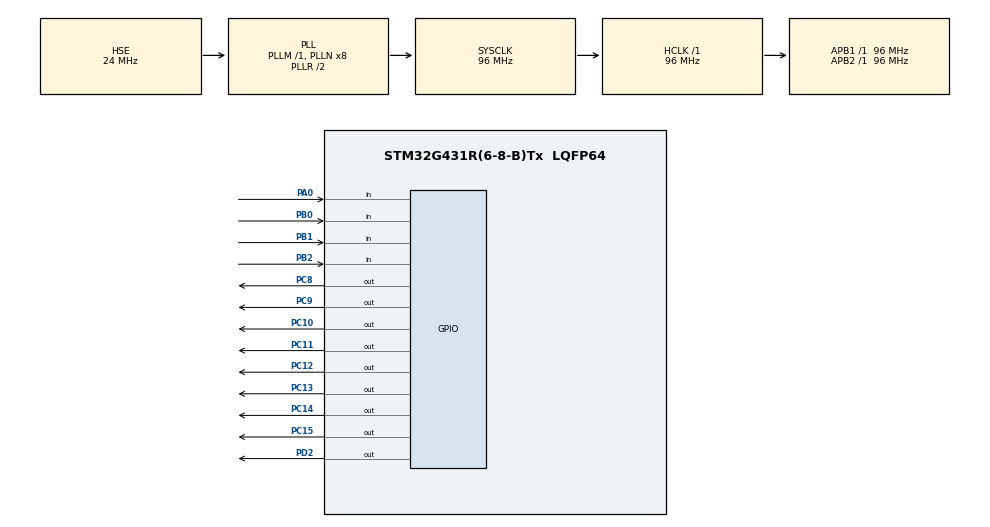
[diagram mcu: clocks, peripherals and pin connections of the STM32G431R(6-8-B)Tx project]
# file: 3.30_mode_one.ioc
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Mcu.Family=STM32G4
Mcu.Name=STM32G431R(6-8-B)Tx
Mcu.Package=LQFP64
NVIC.PriorityGroup=NVIC_PRIORITYGROUP_4
NVIC.TIM3_IRQn=true\:0\:0\:false\:false\:true\:true\:true\:true
PA0.GPIO_Mode=GPIO_MODE_INPUT
PA0.GPIO_PuPd=GPIO_PULLUP
PA0.Signal=GPIO_Input
PA13.Mode=Serial_Wire
PA13.Signal=SYS_JTMS-SWDIO
PA14.Mode=Serial_Wire
PA14.Signal=SYS_JTCK-SWCLK
PB0.GPIO_Mode=GPIO_MODE_INPUT
PB0.GPIO_PuPd=GPIO_PULLUP
PB0.Signal=GPIO_Input
PB1.GPIO_Mode=GPIO_MODE_INPUT
PB1.GPIO_PuPd=GPIO_PULLUP
PB1.Signal=GPIO_Input
PB2.GPIO_Mode=GPIO_MODE_INPUT
PB2.GPIO_PuPd=GPIO_PULLUP
PB2.Signal=GPIO_Input
PC10.GPIO_ModeDefaultOutputPP=GPIO_MODE_OUTPUT_PP
PC10.GPIO_PuPd=GPIO_NOPULL
PC10.PinState=GPIO_PIN_SET
PC10.Signal=GPIO_Output
PC11.GPIO_ModeDefaultOutputPP=GPIO_MODE_OUTPUT_PP
PC11.GPIO_PuPd=GPIO_NOPULL
PC11.PinState=GPIO_PIN_SET
PC11.Signal=GPIO_Output
PC12.GPIO_ModeDefaultOutputPP=GPIO_MODE_OUTPUT_PP
PC12.GPIO_PuPd=GPIO_NOPULL
PC12.PinState=GPIO_PIN_SET
PC12.Signal=GPIO_Output
PC13.GPIO_ModeDefaultOutputPP=GPIO_MODE_OUTPUT_PP
PC13.GPIO_PuPd=GPIO_NOPULL
PC13.PinState=GPIO_PIN_SET
PC13.Signal=GPIO_Output
PC14-OSC32_IN.GPIO_ModeDefaultOutputPP=GPIO_MODE_OUTPUT_PP
PC14-OSC32_IN.GPIO_PuPd=GPIO_NOPULL
PC14-OSC32_IN.PinState=GPIO_PIN_SET
PC14-OSC32_IN.Signal=GPIO_Output
PC15-OSC32_OUT.GPIO_ModeDefaultOutputPP=GPIO_MODE_OUTPUT_PP
PC15-OSC32_OUT.GPIO_PuPd=GPIO_NOPULL
PC15-OSC32_OUT.PinState=GPIO_PIN_SET
PC15-OSC32_OUT.Signal=GPIO_Output
PC8.GPIO_ModeDefaultOutputPP=GPIO_MODE_OUTPUT_PP
PC8.GPIO_PuPd=GPIO_NOPULL
PC8.PinState=GPIO_PIN_SET
PC8.Signal=GPIO_Output
PC9.GPIO_ModeDefaultOutputPP=GPIO_MODE_OUTPUT_PP
PC9.GPIO_PuPd=GPIO_NOPULL
PC9.PinState=GPIO_PIN_SET
PC9.Signal=GPIO_Output
PD2.GPIO_ModeDefaultOutputPP=GPIO_MODE_OUTPUT_PP
PD2.GPIO_PuPd=GPIO_NOPULL
PD2.PinState=GPIO_PIN_SET
PD2.Signal=GPIO_Output
PF0-OSC_IN.Mode=HSE-External-Oscillator
PF0-OSC_IN.Signal=RCC_OSC_IN
PF1-OSC_OUT.Mode=HSE-External-Oscillator
PF1-OSC_OUT.Signal=RCC_OSC_OUT
ProjectManager.HeapSize=0x200
ProjectManager.StackSize=0x400
ProjectManager.TargetToolchain=MDK-ARM V5.32
RCC.ADC12Freq_Value=96000000
RCC.AHBFreq_Value=96000000
RCC.APB1Freq_Value=96000000
RCC.APB1TimFreq_Value=96000000
RCC.APB2Freq_Value=96000000
RCC.APB2TimFreq_Value=96000000
RCC.CortexFreq_Value=96000000
RCC.EXTERNAL_CLOCK_VALUE=12288000
RCC.HCLKFreq_Value=96000000
RCC.HSE_VALUE=24000000
RCC.HSI48_VALUE=48000000
RCC.HSI_VALUE=16000000
RCC.LSE_VALUE=32768
RCC.PLLSourceVirtual=RCC_PLLSOURCE_HSE
RCC.SYSCLKFreq_VALUE=96000000
RCC.SYSCLKSource=RCC_SYSCLKSOURCE_PLLCLK
RCC.USBFreq_Value=96000000
RCC.VCOOutputFreq_Value=192000000
TIM3.PeriodNoDither=1000-1
TIM3.Prescaler=80-1
VP_SYS_VS_DBSignals.Mode=DisableDeadBatterySignals
VP_TIM3_VS_ClockSourceINT.Mode=Internal
board=custom

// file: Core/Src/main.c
/* USER CODE BEGIN Header */
/**
  ******************************************************************************
  * @file           : main.c
  * @brief          : Main program body
  ******************************************************************************
  * @attention
  *
  * Copyright (c) 2026 STMicroelectronics.
  * All rights reserved.
  *
  * This software is licensed under terms that can be found in the LICENSE file
  * in the root directory of this software component.
  * If no LICENSE file comes with this software, it is provided AS-IS.
  *
  ******************************************************************************
  */
/* USER CODE END Header */
#include "main.h"
#include "tim.h"
#include "gpio.h"

/* USER CODE BEGIN Includes */
#include "headfile.h"

/* USER CODE END Includes */

void SystemClock_Config(void);

int main(void)
{

  /* MCU Configuration--------------------------------------------------------*/

  /* Reset of all peripherals, Initializes the Flash interface and the Systick. */
  HAL_Init();

  /* Configure the system clock */
  SystemClock_Config();

  /* Initialize all configured peripherals */
  MX_GPIO_Init();
  MX_TIM3_Init();
  /* USER CODE BEGIN 2 */
  HAL_GPIO_WritePin(GPIOD,GPIO_PIN_2,GPIO_PIN_RESET);

LCD_Init();
LCD_Clear(Black);
LCD_SetBackColor(Black);
LCD_SetTextColor(White);

HAL_TIM_Base_Start_IT(&htim3);
  /* USER CODE END 2 */

  /* Infinite loop */
  /* USER CODE BEGIN WHILE */

  while (1)
  {
	  show_led(8,led8_state);
	  show_lcd();
	  if(key_short)
	  {
		switch(key_short)
		{
			case 1:
			{
				count++;
			}break;
		}key_short=0;
	  }
	  if(key_long)
	  {
		switch(key_long)
		{
			case 1:
			{
				highlight++;
				highlight=(highlight)%2;
			}
		}key_long=0;
	  }
    /* USER CODE END WHILE */

  }
}

void SystemClock_Config(void)
{
  RCC_OscInitTypeDef RCC_OscInitStruct = {0};
  RCC_ClkInitTypeDef RCC_ClkInitStruct = {0};

  /** Configure the main internal regulator output voltage
  */
  HAL_PWREx_ControlVoltageScaling(PWR_REGULATOR_VOLTAGE_SCALE1);

  /** Initializes the RCC Oscillators according to the specified parameters
  * in the RCC_OscInitTypeDef structure.
  */
  RCC_OscInitStruct.OscillatorType = RCC_OSCILLATORTYPE_HSE;
  RCC_OscInitStruct.HSEState = RCC_HSE_ON;
  RCC_OscInitStruct.PLL.PLLState = RCC_PLL_ON;
  RCC_OscInitStruct.PLL.PLLSource = RCC_PLLSOURCE_HSE;
  RCC_OscInitStruct.PLL.PLLM = RCC_PLLM_DIV1;
  RCC_OscInitStruct.PLL.PLLN = 8;
  RCC_OscInitStruct.PLL.PLLP = RCC_PLLP_DIV2;
  RCC_OscInitStruct.PLL.PLLQ = RCC_PLLQ_DIV2;
  RCC_OscInitStruct.PLL.PLLR = RCC_PLLR_DIV2;
  if (HAL_RCC_OscConfig(&RCC_OscInitStruct) != HAL_OK)
  {
    Error_Handler();
  }

  /** Initializes the CPU, AHB and APB buses clocks
  */
  RCC_ClkInitStruct.ClockType = RCC_CLOCKTYPE_HCLK|RCC_CLOCKTYPE_SYSCLK
                              |RCC_CLOCKTYPE_PCLK1|RCC_CLOCKTYPE_PCLK2;
  RCC_ClkInitStruct.SYSCLKSource = RCC_SYSCLKSOURCE_PLLCLK;
  RCC_ClkInitStruct.AHBCLKDivider = RCC_SYSCLK_DIV1;
  RCC_ClkInitStruct.APB1CLKDivider = RCC_HCLK_DIV1;
  RCC_ClkInitStruct.APB2CLKDivider = RCC_HCLK_DIV1;

  if (HAL_RCC_ClockConfig(&RCC_ClkInitStruct, FLASH_LATENCY_3) != HAL_OK)
  {
    Error_Handler();
  }
}

void Error_Handler(void)
{
  __disable_irq();
  while (1)
  {
  }
}
